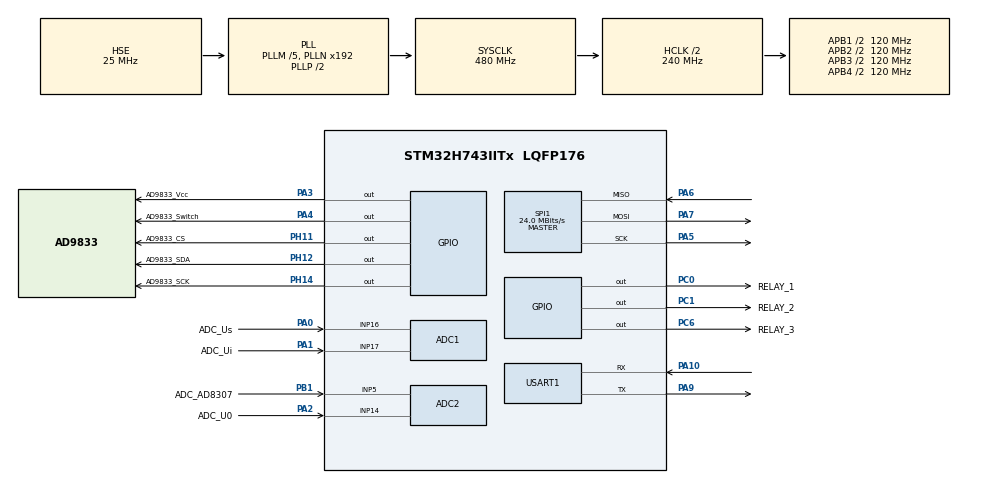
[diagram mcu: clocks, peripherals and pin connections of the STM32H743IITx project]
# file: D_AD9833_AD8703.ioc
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ADC1.Channel-4\#ChannelRegularConversion=ADC_CHANNEL_16
ADC1.Channel-5\#ChannelRegularConversion=ADC_CHANNEL_17
ADC1.ConversionDataManagement=ADC_CONVERSIONDATA_DMA_ONESHOT
ADC1.ExternalTrigConv=ADC_EXTERNALTRIG_T3_TRGO
ADC1.NbrOfConversion=2
ADC1.NbrOfConversionFlag=1
ADC1.OffsetNumber-4\#ChannelRegularConversion=ADC_OFFSET_NONE
ADC1.OffsetNumber-5\#ChannelRegularConversion=ADC_OFFSET_NONE
ADC1.OffsetSignedSaturation-4\#ChannelRegularConversion=DISABLE
ADC1.OffsetSignedSaturation-5\#ChannelRegularConversion=DISABLE
ADC1.Rank-4\#ChannelRegularConversion=1
ADC1.Rank-5\#ChannelRegularConversion=2
ADC1.SamplingTime-4\#ChannelRegularConversion=ADC_SAMPLETIME_64CYCLES_5
ADC1.SamplingTime-5\#ChannelRegularConversion=ADC_SAMPLETIME_64CYCLES_5
ADC1.master=1
ADC2.Channel-2\#ChannelRegularConversion=ADC_CHANNEL_14
ADC2.Channel-3\#ChannelRegularConversion=ADC_CHANNEL_5
ADC2.ConversionDataManagement=ADC_CONVERSIONDATA_DMA_ONESHOT
ADC2.ExternalTrigConv=ADC_EXTERNALTRIG_T3_TRGO
ADC2.NbrOfConversion=2
ADC2.NbrOfConversionFlag=1
ADC2.OffsetNumber-2\#ChannelRegularConversion=ADC_OFFSET_NONE
ADC2.OffsetNumber-3\#ChannelRegularConversion=ADC_OFFSET_NONE
ADC2.OffsetSignedSaturation-2\#ChannelRegularConversion=DISABLE
ADC2.OffsetSignedSaturation-3\#ChannelRegularConversion=DISABLE
ADC2.Rank-2\#ChannelRegularConversion=1
ADC2.Rank-3\#ChannelRegularConversion=2
ADC2.SamplingTime-2\#ChannelRegularConversion=ADC_SAMPLETIME_64CYCLES_5
ADC2.SamplingTime-3\#ChannelRegularConversion=ADC_SAMPLETIME_64CYCLES_5
Dma.ADC1.1.Direction=DMA_PERIPH_TO_MEMORY
Dma.ADC1.1.EventEnable=DISABLE
Dma.ADC1.1.FIFOMode=DMA_FIFOMODE_DISABLE
Dma.ADC1.1.Instance=DMA1_Stream0
Dma.ADC1.1.MemDataAlignment=DMA_MDATAALIGN_HALFWORD
Dma.ADC1.1.MemInc=DMA_MINC_ENABLE
Dma.ADC1.1.Mode=DMA_NORMAL
Dma.ADC1.1.PeriphDataAlignment=DMA_PDATAALIGN_HALFWORD
Dma.ADC1.1.PeriphInc=DMA_PINC_DISABLE
Dma.ADC1.1.Polarity=HAL_DMAMUX_REQ_GEN_RISING
Dma.ADC1.1.Priority=DMA_PRIORITY_LOW
Dma.ADC1.1.RequestNumber=1
Dma.ADC1.1.SignalID=NONE
Dma.ADC1.1.SyncEnable=DISABLE
Dma.ADC1.1.SyncPolarity=HAL_DMAMUX_SYNC_NO_EVENT
Dma.ADC1.1.SyncRequestNumber=1
Dma.ADC1.1.SyncSignalID=NONE
Dma.ADC2.0.Direction=DMA_PERIPH_TO_MEMORY
Dma.ADC2.0.EventEnable=DISABLE
Dma.ADC2.0.FIFOMode=DMA_FIFOMODE_DISABLE
Dma.ADC2.0.Instance=DMA1_Stream1
Dma.ADC2.0.MemDataAlignment=DMA_MDATAALIGN_HALFWORD
Dma.ADC2.0.MemInc=DMA_MINC_ENABLE
Dma.ADC2.0.Mode=DMA_NORMAL
Dma.ADC2.0.PeriphDataAlignment=DMA_PDATAALIGN_HALFWORD
Dma.ADC2.0.PeriphInc=DMA_PINC_DISABLE
Dma.ADC2.0.Polarity=HAL_DMAMUX_REQ_GEN_RISING
Dma.ADC2.0.Priority=DMA_PRIORITY_LOW
Dma.ADC2.0.RequestNumber=1
Dma.ADC2.0.SignalID=NONE
Dma.ADC2.0.SyncEnable=DISABLE
Dma.ADC2.0.SyncPolarity=HAL_DMAMUX_SYNC_NO_EVENT
Dma.ADC2.0.SyncRequestNumber=1
Dma.ADC2.0.SyncSignalID=NONE
Dma.Request0=ADC2
Dma.Request1=ADC1
Mcu.Family=STM32H7
Mcu.Name=STM32H743IITx
Mcu.Package=LQFP176
NVIC.DMA1_Stream0_IRQn=true\:0\:0\:false\:false\:true\:false\:true
NVIC.DMA1_Stream1_IRQn=true\:0\:0\:false\:false\:true\:false\:true
NVIC.PriorityGroup=NVIC_PRIORITYGROUP_4
NVIC.USART1_IRQn=true\:0\:0\:false\:false\:true\:true\:true
PA0.GPIO_Label=ADC_Us
PA0.Mode=IN16-Single-Ended
PA0.Signal=ADC1_INP16
PA1.GPIO_Label=ADC_Ui
PA1.Mode=IN17-Single-Ended
PA1.Signal=ADC1_INP17
PA10.Mode=Asynchronous
PA10.Signal=USART1_RX
PA13\ (JTMS/SWDIO).Mode=Serial_Wire
PA13\ (JTMS/SWDIO).Signal=DEBUG_JTMS-SWDIO
PA14\ (JTCK/SWCLK).Mode=Serial_Wire
PA14\ (JTCK/SWCLK).Signal=DEBUG_JTCK-SWCLK
PA2.GPIO_Label=ADC_U0
PA2.Signal=ADCx_INP14
PA3.GPIO_Label=AD9833_Vcc
PA3.PinState=GPIO_PIN_SET
PA3.Signal=GPIO_Output
PA4.GPIO_Label=AD9833_Switch
PA4.PinState=GPIO_PIN_SET
PA4.Signal=GPIO_Output
PA5.Mode=Full_Duplex_Master
PA5.Signal=SPI1_SCK
PA6.Mode=Full_Duplex_Master
PA6.Signal=SPI1_MISO
PA7.Mode=Full_Duplex_Master
PA7.Signal=SPI1_MOSI
PA9.Mode=Asynchronous
PA9.Signal=USART1_TX
PB1.GPIO_Label=ADC_AD8307
PB1.Signal=ADCx_INP5
PC0.GPIO_Label=RELAY_1
PC0.Signal=GPIO_Output
PC1.GPIO_Label=RELAY_2
PC1.PinState=GPIO_PIN_RESET
PC1.Signal=GPIO_Output
PC14-OSC32_IN\ (OSC32_IN).Mode=LSE-External-Oscillator
PC14-OSC32_IN\ (OSC32_IN).Signal=RCC_OSC32_IN
PC15-OSC32_OUT\ (OSC32_OUT).Mode=LSE-External-Oscillator
PC15-OSC32_OUT\ (OSC32_OUT).Signal=RCC_OSC32_OUT
PC6.GPIO_Label=RELAY_3
PC6.Signal=GPIO_Output
PH0-OSC_IN\ (PH0).Mode=HSE-External-Oscillator
PH0-OSC_IN\ (PH0).Signal=RCC_OSC_IN
PH1-OSC_OUT\ (PH1).Mode=HSE-External-Oscillator
PH1-OSC_OUT\ (PH1).Signal=RCC_OSC_OUT
PH11.GPIO_Label=AD9833_CS
PH11.GPIO_Speed=GPIO_SPEED_FREQ_HIGH
PH11.PinState=GPIO_PIN_SET
PH11.Signal=GPIO_Output
PH12.GPIO_Label=AD9833_SDA
PH12.GPIO_Speed=GPIO_SPEED_FREQ_HIGH
PH12.PinState=GPIO_PIN_SET
PH12.Signal=GPIO_Output
PH14.GPIO_Label=AD9833_SCK
PH14.GPIO_Speed=GPIO_SPEED_FREQ_HIGH
PH14.PinState=GPIO_PIN_SET
PH14.Signal=GPIO_Output
ProjectManager.HeapSize=0x200
ProjectManager.StackSize=0x400
ProjectManager.TargetToolchain=MDK-ARM V5
RCC.ADCFreq_Value=75000000
RCC.APB1Freq_Value=120000000
RCC.APB2Freq_Value=120000000
RCC.APB3Freq_Value=120000000
RCC.APB4Freq_Value=120000000
RCC.CortexFreq_Value=480000000
RCC.D1PPRE=RCC_APB3_DIV2
RCC.D2PPRE1=RCC_APB1_DIV2
RCC.D2PPRE2=RCC_APB2_DIV2
RCC.D3PPRE=RCC_APB4_DIV2
RCC.DIVM1=5
RCC.DIVM2=2
RCC.DIVN1=192
RCC.DIVN2=12
RCC.DIVQ1=5
RCC.HCLKFreq_Value=240000000
RCC.HPRE=RCC_HCLK_DIV2
RCC.PLL2FRACN=0
RCC.PLL3FRACN=0
RCC.PLLFRACN=0
RCC.PLLSourceVirtual=RCC_PLLSOURCE_HSE
RCC.PWR_Regulator_Voltage_Scale=PWR_REGULATOR_VOLTAGE_SCALE0
RCC.SYSCLKFreq_VALUE=480000000
RCC.SYSCLKSource=RCC_SYSCLKSOURCE_PLLCLK
RCC.USBFreq_Value=192000000
SH.ADCx_INP14.0=ADC2_INP14,IN14-Single-Ended
SH.ADCx_INP5.0=ADC2_INP5,IN5-Single-Ended
SPI1.BaudRatePrescaler=SPI_BAUDRATEPRESCALER_8
SPI1.CLKPhase=SPI_PHASE_1EDGE
SPI1.CLKPolarity=SPI_POLARITY_HIGH
SPI1.CalculateBaudRate=24.0 MBits/s
SPI1.Direction=SPI_DIRECTION_2LINES
SPI1.Mode=SPI_MODE_MASTER
SPI1.VirtualType=VM_MASTER
TIM3.Period=1000-1
TIM3.Prescaler=12-1
TIM3.TIM_MasterOutputTrigger=TIM_TRGO_UPDATE
USART1.VirtualMode-Asynchronous=VM_ASYNC
VP_TIM3_VS_ClockSourceINT.Mode=Internal
board=custom

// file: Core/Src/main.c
/* USER CODE BEGIN Header */
/**
 ******************************************************************************
 * @file           : main.c
 * @brief          : Main program body
 ******************************************************************************
 * @attention
 *
 * <h2><center>&copy; Copyright (c) 2026 STMicroelectronics.
 * All rights reserved.</center></h2>
 *
 * This software component is licensed by ST under Ultimate Liberty license
 * SLA0044, the "License"; You may not use this file except in compliance with
 * the License. You may obtain a copy of the License at:
 *                             www.st.com/SLA0044
 *
 ******************************************************************************
 */
/* USER CODE END Header */
#include "main.h"
#include "adc.h"
#include "dma.h"
#include "spi.h"
#include "tim.h"
#include "usart.h"
#include "gpio.h"

/* USER CODE BEGIN Includes */
#include "HMI.h"
#include "fft.h"
#include "math.h"
#include "system.h"
/* USER CODE END Includes */

/* USER CODE BEGIN PV */
#define ADC_SIZE 1024
#define rank 2

/* 通道配置：ADC_Us=IN16, ADC_Ui=IN17, ADC_U0=IN5, ADC_8307=IN14
   rank1是buffer的奇数项，rank2是偶数项
   ADC1: rank1=Us, rank2=Ui
   ADC2: rank1=U0, rank2=AD8307 detector output */
uint16_t ADC_Buffer1[ADC_SIZE * rank] = {0};
uint16_t ADC_Buffer2[ADC_SIZE * rank] = {0};
uint16_t ADC_Us[ADC_SIZE] = {0};
uint16_t ADC_U0[ADC_SIZE] = {0};
uint16_t ADC_Ui[ADC_SIZE] = {0};
uint16_t ADC_8307[ADC_SIZE] = {0};

/* Set only after both ADC1 and ADC2 finish one complete DMA frame. */
volatile uint8_t ADC_Flag = 0;
static volatile uint8_t adc1_done = 0;
static volatile uint8_t adc2_done = 0;

/* Bug#3修复：记录ADC采集是否正在进行，供task_measure重测使用 */
static volatile uint8_t adc_capture_running = 0;
volatile uint8_t task_none = 0;

/* Input/output resistance values used by the basic measurement functions. */
int RL = 2000;
int Rs = 10000;

volatile uint8_t task_measure = 0; //Start real-time measurement of input/output impedance and gain.
volatile uint8_t task_sweep = 0;//Start measuring gain frequency response and plotting
volatile uint8_t task_fault = 0;//Start fault diagnosis

/* USER CODE END PV */

void SystemClock_Config(void);
void PeriphCommonClock_Config(void);
/* USER CODE BEGIN PFP */
static void Split_ADC_Buffers(void);
static void Start_ADC_Capture(void);
uint8_t Acquire_All_ADC_Samples_Blocking(uint32_t timeout_ms);
/* USER CODE END PFP */

/* USER CODE BEGIN 0 */
/* Split interleaved DMA data into four independent 1024-point waveforms. */
static void Split_ADC_Buffers(void)
{
    for (uint16_t i = 0; i < ADC_SIZE; i++)
    {
        ADC_Us[i] = ADC_Buffer1[2U * i];
        ADC_Ui[i] = ADC_Buffer1[2U * i + 1U];
        ADC_U0[i] = ADC_Buffer2[2U * i];
        ADC_8307[i] = ADC_Buffer2[2U * i + 1U];
    }
}

/* Start one new synchronous acquisition frame on ADC1 and ADC2. */
static void Start_ADC_Capture(void)
{
    HAL_ADC_Stop_DMA(&hadc1);
    HAL_ADC_Stop_DMA(&hadc2);

    adc1_done = 0;
    adc2_done = 0;
    ADC_Flag = 0;
    adc_capture_running = 1;

    HAL_ADC_Start_DMA(&hadc1, (uint32_t *)ADC_Buffer1, ADC_SIZE * rank);
    HAL_ADC_Start_DMA(&hadc2, (uint32_t *)ADC_Buffer2, ADC_SIZE * rank);
}

/* Blocking helper for FFT/sweep functions when a fresh full frame is needed. */
uint8_t Acquire_All_ADC_Samples_Blocking(uint32_t timeout_ms)
{
    uint32_t tickstart = HAL_GetTick();

    Start_ADC_Capture();

    while (ADC_Flag == 0U)
    {
        if ((HAL_GetTick() - tickstart) > timeout_ms)
        {
            return 0U;
        }
    }

    ADC_Flag = 0U;
    Split_ADC_Buffers();
    return 1U;
}
/* USER CODE END 0 */

int main(void)
{

  /* MCU Configuration--------------------------------------------------------*/

  /* Reset of all peripherals, Initializes the Flash interface and the Systick. */
  HAL_Init();

  /* Configure the system clock */
  SystemClock_Config();

/* Configure the peripherals common clocks */
  PeriphCommonClock_Config();

  /* Initialize all configured peripherals */
  MX_GPIO_Init();
  MX_DMA_Init();
  MX_ADC1_Init();
  MX_SPI1_Init();
  MX_TIM3_Init();
  MX_USART1_UART_Init();
  MX_ADC2_Init();
  /* USER CODE BEGIN 2 */
    HAL_ADCEx_Calibration_Start(&hadc1, ADC_CALIB_OFFSET, ADC_SINGLE_ENDED);
    HAL_ADCEx_Calibration_Start(&hadc2, ADC_CALIB_OFFSET, ADC_SINGLE_ENDED);
    HAL_TIM_Base_Start(&htim3);
    Start_ADC_Capture();
    System_Init();
  /* USER CODE END 2 */

  /* Infinite loop */
  /* USER CODE BEGIN WHILE */
    while (1)
    {
        Usart_Rx_Proc();
        if (task_measure == 1)
        {
            if (ADC_Flag == 1)
            {
                ADC_Flag = 0U;
                Split_ADC_Buffers();

                Calculate_Input_Impedance(Rs);
                Calculate_Output_Impedance(RL);
                Calculate_Gain();

                Start_ADC_Capture();
            }
            else if (adc_capture_running == 0U)
            {
                /* Bug#3修复：从其他状态切换回task_measure时ADC已停止，
                 * ADC_Flag不会再被DMA中断置位，需在此处重新启动采集 */
                Start_ADC_Capture();
            }
        }
        else if (task_sweep == 1)
        {
            task_sweep = 0;
            Sweep_Gain(1000, 300000, 1000);
        }
        else if (task_fault == 1)
        {
            task_fault = 0;

        }
        else if (task_none == 1)
        {
            task_none = 0;
        }

    /* USER CODE END WHILE */

    }
}

void SystemClock_Config(void)
{
  RCC_OscInitTypeDef RCC_OscInitStruct = {0};
  RCC_ClkInitTypeDef RCC_ClkInitStruct = {0};

  /** Supply configuration update enable
  */
  HAL_PWREx_ConfigSupply(PWR_LDO_SUPPLY);
  /** Configure the main internal regulator output voltage
  */
  __HAL_PWR_VOLTAGESCALING_CONFIG(PWR_REGULATOR_VOLTAGE_SCALE0);

  while(!__HAL_PWR_GET_FLAG(PWR_FLAG_VOSRDY)) {}
  /** Macro to configure the PLL clock source
  */
  __HAL_RCC_PLL_PLLSOURCE_CONFIG(RCC_PLLSOURCE_HSE);
  /** Initializes the RCC Oscillators according to the specified parameters
  * in the RCC_OscInitTypeDef structure.
  */
  RCC_OscInitStruct.OscillatorType = RCC_OSCILLATORTYPE_HSE;
  RCC_OscInitStruct.HSEState = RCC_HSE_ON;
  RCC_OscInitStruct.PLL.PLLState = RCC_PLL_ON;
  RCC_OscInitStruct.PLL.PLLSource = RCC_PLLSOURCE_HSE;
  RCC_OscInitStruct.PLL.PLLM = 5;
  RCC_OscInitStruct.PLL.PLLN = 192;
  RCC_OscInitStruct.PLL.PLLP = 2;
  RCC_OscInitStruct.PLL.PLLQ = 5;
  RCC_OscInitStruct.PLL.PLLR = 2;
  RCC_OscInitStruct.PLL.PLLRGE = RCC_PLL1VCIRANGE_2;
  RCC_OscInitStruct.PLL.PLLVCOSEL = RCC_PLL1VCOWIDE;
  RCC_OscInitStruct.PLL.PLLFRACN = 0;
  if (HAL_RCC_OscConfig(&RCC_OscInitStruct) != HAL_OK)
  {
    Error_Handler();
  }
  /** Initializes the CPU, AHB and APB buses clocks
  */
  RCC_ClkInitStruct.ClockType = RCC_CLOCKTYPE_HCLK|RCC_CLOCKTYPE_SYSCLK
                              |RCC_CLOCKTYPE_PCLK1|RCC_CLOCKTYPE_PCLK2
                              |RCC_CLOCKTYPE_D3PCLK1|RCC_CLOCKTYPE_D1PCLK1;
  RCC_ClkInitStruct.SYSCLKSource = RCC_SYSCLKSOURCE_PLLCLK;
  RCC_ClkInitStruct.SYSCLKDivider = RCC_SYSCLK_DIV1;
  RCC_ClkInitStruct.AHBCLKDivider = RCC_HCLK_DIV2;
  RCC_ClkInitStruct.APB3CLKDivider = RCC_APB3_DIV2;
  RCC_ClkInitStruct.APB1CLKDivider = RCC_APB1_DIV2;
  RCC_ClkInitStruct.APB2CLKDivider = RCC_APB2_DIV2;
  RCC_ClkInitStruct.APB4CLKDivider = RCC_APB4_DIV2;

  if (HAL_RCC_ClockConfig(&RCC_ClkInitStruct, FLASH_LATENCY_4) != HAL_OK)
  {
    Error_Handler();
  }
}

void PeriphCommonClock_Config(void)
{
  RCC_PeriphCLKInitTypeDef PeriphClkInitStruct = {0};

  /** Initializes the peripherals clock
  */
  PeriphClkInitStruct.PeriphClockSelection = RCC_PERIPHCLK_ADC;
  PeriphClkInitStruct.PLL2.PLL2M = 2;
  PeriphClkInitStruct.PLL2.PLL2N = 12;
  PeriphClkInitStruct.PLL2.PLL2P = 2;
  PeriphClkInitStruct.PLL2.PLL2Q = 2;
  PeriphClkInitStruct.PLL2.PLL2R = 2;
  PeriphClkInitStruct.PLL2.PLL2RGE = RCC_PLL2VCIRANGE_3;
  PeriphClkInitStruct.PLL2.PLL2VCOSEL = RCC_PLL2VCOMEDIUM;
  PeriphClkInitStruct.PLL2.PLL2FRACN = 0;
  PeriphClkInitStruct.AdcClockSelection = RCC_ADCCLKSOURCE_PLL2;
  if (HAL_RCCEx_PeriphCLKConfig(&PeriphClkInitStruct) != HAL_OK)
  {
    Error_Handler();
  }
}

/* USER CODE BEGIN 4 */
/* DMA complete callback for the independent dual-ADC synchronous acquisition. */
void HAL_ADC_ConvCpltCallback(ADC_HandleTypeDef *hadc)
{
    if (hadc == &hadc1)
    {
        HAL_ADC_Stop_DMA(hadc);
        adc1_done = 1U;
    }
    else if (hadc == &hadc2)
    {
        HAL_ADC_Stop_DMA(hadc);
        adc2_done = 1U;
    }

    if (adc1_done == 1U && adc2_done == 1U)
    {
        adc_capture_running = 0;
        ADC_Flag = 1U;
    }
}
/* USER CODE END 4 */

void Error_Handler(void)
{
    __disable_irq();
    while (1)
    {
    }
}

/************************ (C) COPYRIGHT STMicroelectronics *****END OF FILE****/
